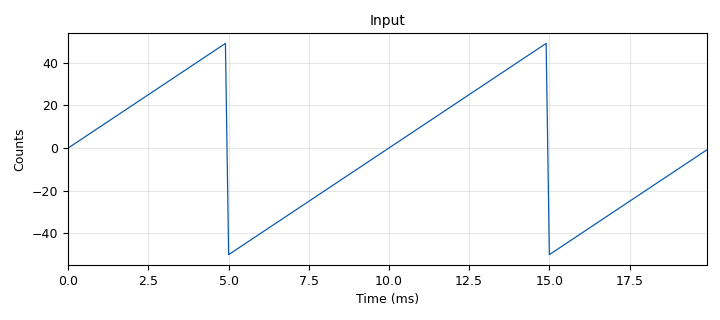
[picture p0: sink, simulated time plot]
<?xml version='1.0' encoding='utf-8'?>
<flow_graph>
<block>
<key>options</key>
<param><key>id</key><value>ofdm_power4</value></param>
<param><key>generate_options</key><value>wx_gui</value></param>
<param><key>category</key><value>Custom</value></param>
</block>
<block>
<key>variable</key>
<param><key>id</key><value>samp_rate</value></param>
<param><key>value</key><value>10e3</value></param>
</block>
<block>
<key>wxgui_scopesink2</key>
<param><key>id</key><value>sink</value></param>
<param><key>type</key><value>float</value></param>
<param><key>title</key><value>Input</value></param>
<param><key>samp_rate</key><value>samp_rate</value></param>
<param><key>v_scale</key><value>20</value></param>
<param><key>v_offset</key><value>0</value></param>
<param><key>t_scale</key><value>0.002</value></param>
<param><key>ac_couple</key><value>False</value></param>
<param><key>xy_mode</key><value>False</value></param>
<param><key>num_inputs</key><value>1</value></param>
<param><key>trig_mode</key><value>gr.gr_TRIG_MODE_AUTO</value></param>
<param><key>y_axis_label</key><value>Counts</value></param>
</block>
<block>
<key>gr_vector_source_x</key>
<param><key>id</key><value>src</value></param>
<param><key>type</key><value>float</value></param>
<param><key>vector</key><value>[float(n)-50 for n in range(100)]</value></param>
<param><key>repeat</key><value>True</value></param>
<param><key>vlen</key><value>1</value></param>
</block>
<block>
<key>gr_throttle</key>
<param><key>id</key><value>thr</value></param>
<param><key>type</key><value>float</value></param>
<param><key>samples_per_second</key><value>samp_rate</value></param>
<param><key>vlen</key><value>1</value></param>
</block>
<block>
<key>ofdm_power4_ff</key>
<param><key>id</key><value>ofdm_power4_ff_0</value></param>
</block>
<block>
<key>wxgui_scopesink2</key>
<param><key>id</key><value>sink2</value></param>
<param><key>type</key><value>float</value></param>
<param><key>title</key><value>Output</value></param>
<param><key>samp_rate</key><value>samp_rate</value></param>
<param><key>v_scale</key><value>0</value></param>
<param><key>v_offset</key><value>0</value></param>
<param><key>t_scale</key><value>0.002</value></param>
<param><key>ac_couple</key><value>False</value></param>
<param><key>xy_mode</key><value>False</value></param>
<param><key>num_inputs</key><value>1</value></param>
<param><key>trig_mode</key><value>gr.gr_TRIG_MODE_AUTO</value></param>
<param><key>y_axis_label</key><value>Counts</value></param>
</block>
<connection><source_block_id>src</source_block_id><sink_block_id>thr</sink_block_id><source_key>0</source_key><sink_key>0</sink_key></connection>
<connection><source_block_id>thr</source_block_id><sink_block_id>sink</sink_block_id><source_key>0</source_key><sink_key>0</sink_key></connection>
<connection><source_block_id>thr</source_block_id><sink_block_id>ofdm_power4_ff_0</sink_block_id><source_key>0</source_key><sink_key>0</sink_key></connection>
<connection><source_block_id>ofdm_power4_ff_0</source_block_id><sink_block_id>sink2</sink_block_id><source_key>0</source_key><sink_key>0</sink_key></connection>
</flow_graph>
